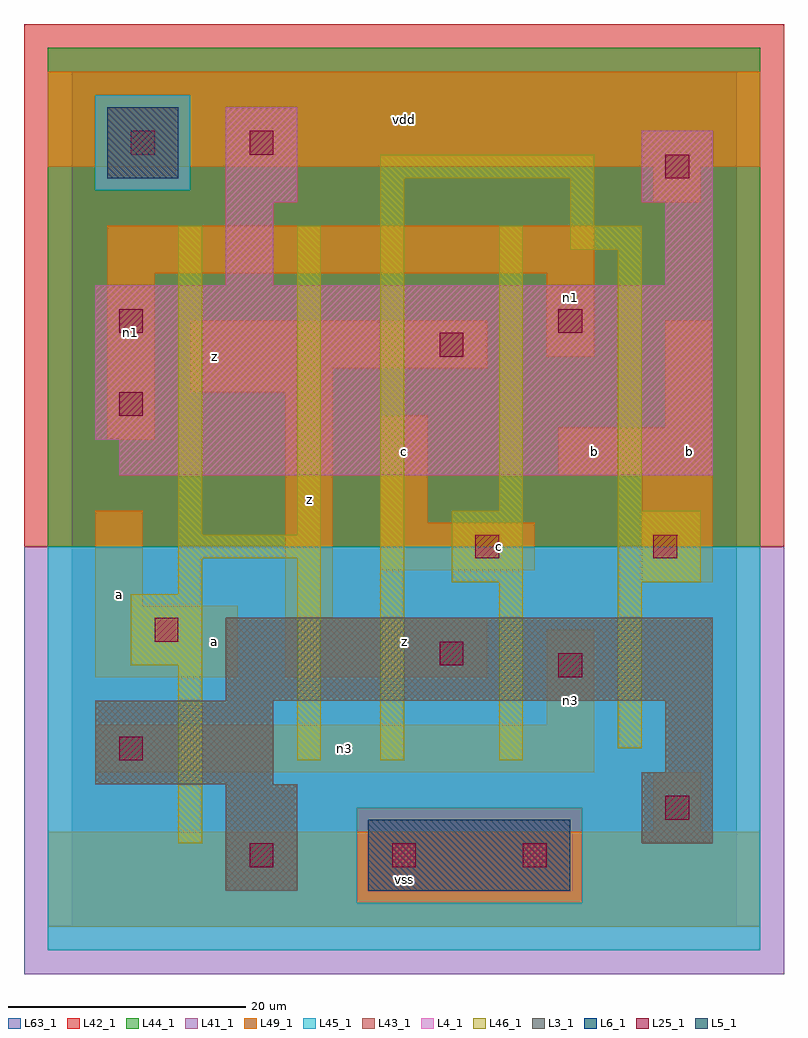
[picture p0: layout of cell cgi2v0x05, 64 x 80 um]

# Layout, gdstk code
import gdstk
lib = gdstk.Library(unit=1e-6, precision=1e-09)
def R(c, l, rs):  # rectangles x0, y0, x1, y1
    for r in rs: c.add(gdstk.rectangle(r[:2], r[2:], *l))
L3_1 = (3, 1)
L4_1 = (4, 1)
L5_1 = (5, 1)
L6_1 = (6, 1)
L25_1 = (25, 1)
L41_1 = (41, 1)
L42_1 = (42, 1)
L43_1 = (43, 1)
L44_1 = (44, 1)
L45_1 = (45, 1)
L46_1 = (46, 1)
L49_1 = (49, 1)
L63_1 = (63, 1)

cgi2v0x05 = lib.new_cell('cgi2v0x05')
R(cgi2v0x05, L3_1, [(13,3,19,12), (48,7,54,13), (2,12,17,19), (50,13,54,19), (13,19,54,26)])
R(cgi2v0x05, L4_1, [(4,38,54,41), (2,41,54,54), (13,54,17,61), (50,54,54,61), (13,61,19,69), (48,61,54,67)])
R(cgi2v0x05, L5_1, [(3,63,9,69)])
R(cgi2v0x05, L6_1, [(25,3,42,9), (25,3,42,9)])
R(cgi2v0x05, L25_1, [(15,5,17,7), (27,5,29,7), (38,5,40,7), (50,9,52,11), (4,14,6,16), (41,21,43,23), (31,22,33,24), (7,24,9,26), (34,31,36,33), (49,31,51,33), (4,43,6,45), (31,48,33,50), (4,50,6,52), (41,50,43,52), (50,63,52,65), (5,65,7,67), (15,65,17,67)])
R(cgi2v0x05, L41_1, [(-4,-4,60,32)])
R(cgi2v0x05, L42_1, [(-4,32,60,76)])
R(cgi2v0x05, L43_1, [(13,3,19,12), (25,3,42,9), (48,7,54,13), (2,12,17,19), (50,13,54,19), (13,19,54,26), (4,38,54,41), (2,41,54,54), (13,54,17,61), (50,54,54,61), (13,61,19,69), (48,61,54,67), (3,63,9,69)])
R(cgi2v0x05, L44_1, [(24,2,43,10), (-2,32,58,62), (-2,62,2,70), (10,62,58,70), (-2,70,58,74)])
R(cgi2v0x05, L45_1, [(-2,-2,58,2), (-2,2,24,10), (43,2,58,10), (-2,10,58,32), (2,62,10,70)])
R(cgi2v0x05, L46_1, [(9,7,11,22), (19,14,21,31), (26,14,28,63), (36,14,38,29), (46,15,48,29), (5,22,11,28), (9,28,11,31), (32,29,38,35), (46,29,53,35), (9,31,21,33), (9,33,11,59), (19,33,21,59), (36,35,38,59), (46,35,48,57), (42,57,48,59), (42,59,44,63), (26,63,44,65)])
R(cgi2v0x05, L49_1, [(-2,0,58,8), (49,8,53,13), (2,13,44,17), (40,17,44,25), (2,21,14,27), (18,21,35,26), (18,26,22,45), (2,27,6,35), (48,29,54,38), (26,30,39,34), (26,34,30,43), (41,38,54,42), (3,41,7,55), (50,42,54,51), (10,45,22,47), (10,47,35,51), (40,48,44,55), (3,55,44,59), (49,61,53,64), (-2,64,58,72)])
R(cgi2v0x05, L63_1, [(0,0,56,72)])
cgi2v0x05.add(gdstk.Label('a', (4,28), layer=49, texttype=1))
cgi2v0x05.add(gdstk.Label('n1', (5,50), layer=49, texttype=1))
cgi2v0x05.add(gdstk.Label('a', (12,24), layer=49, texttype=1))
cgi2v0x05.add(gdstk.Label('z', (20,36), layer=49, texttype=1))
cgi2v0x05.add(gdstk.Label('z', (12,48), layer=49, texttype=1))
cgi2v0x05.add(gdstk.Label('vss', (28,4), layer=49, texttype=1))
cgi2v0x05.add(gdstk.Label('z', (28,24), layer=49, texttype=1))
cgi2v0x05.add(gdstk.Label('c', (36,32), layer=49, texttype=1))
cgi2v0x05.add(gdstk.Label('c', (28,40), layer=49, texttype=1))
cgi2v0x05.add(gdstk.Label('vdd', (28,68), layer=49, texttype=1))
cgi2v0x05.add(gdstk.Label('n3', (23,15), layer=49, texttype=1))
cgi2v0x05.add(gdstk.Label('n3', (42,19), layer=49, texttype=1))
cgi2v0x05.add(gdstk.Label('b', (52,40), layer=49, texttype=1))
cgi2v0x05.add(gdstk.Label('b', (44,40), layer=49, texttype=1))
cgi2v0x05.add(gdstk.Label('n1', (42,53), layer=49, texttype=1))

lib.write_gds('cgi2v0x05.gds')
